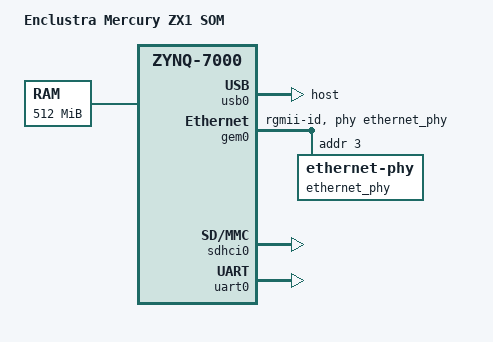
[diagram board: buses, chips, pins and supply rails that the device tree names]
/*
 *  Copyright (C) 2011 - 2014 Xilinx
 *  Copyright (C) 2012 National Instruments Corp.
 *
 * This software is licensed under the terms of the GNU General Public
 * License version 2, as published by the Free Software Foundation, and
 * may be copied, distributed, and modified under those terms.
 *
 * This program is distributed in the hope that it will be useful,
 * but WITHOUT ANY WARRANTY; without even the implied warranty of
 * MERCHANTABILITY or FITNESS FOR A PARTICULAR PURPOSE.  See the
 * GNU General Public License for more details.
 */
/dts-v1/;
/include/ "zynq-7000.dtsi"
/include/ "zynq-enclustra-qspi64-parts.dtsi"

/ {
	model = "Enclustra Mercury ZX1 SOM";
	compatible = "xlnx,zynq-7000";

	aliases {
		ethernet0 = &gem0;
		serial0 = &uart1;
	};

	memory {
		device_type = "memory";
		reg = <0x0 0x20000000>;
	};

	chosen {
		bootargs = "console=ttyPS0,115200 root=/dev/mmcblk0p2 rootwait earlyprintk";
		linux,stdout-path = "/amba/serial@e0000000";
	};
};

&usb0 {
	status = "okay";
	dr_mode = "host";
	phy_type = "ulpi";
};

&gem0 {
	status = "okay";
	phy-mode = "rgmii-id";
	phy-handle = <&ethernet_phy>;

	ethernet_phy: ethernet-phy@3 {
		reg = <3>;
	};
};

&sdhci0 {
	status = "okay";
	broken-cd = <0x1>;
	wp-inverted = <0x1>;
};

&uart0 {
	status = "okay";
};

